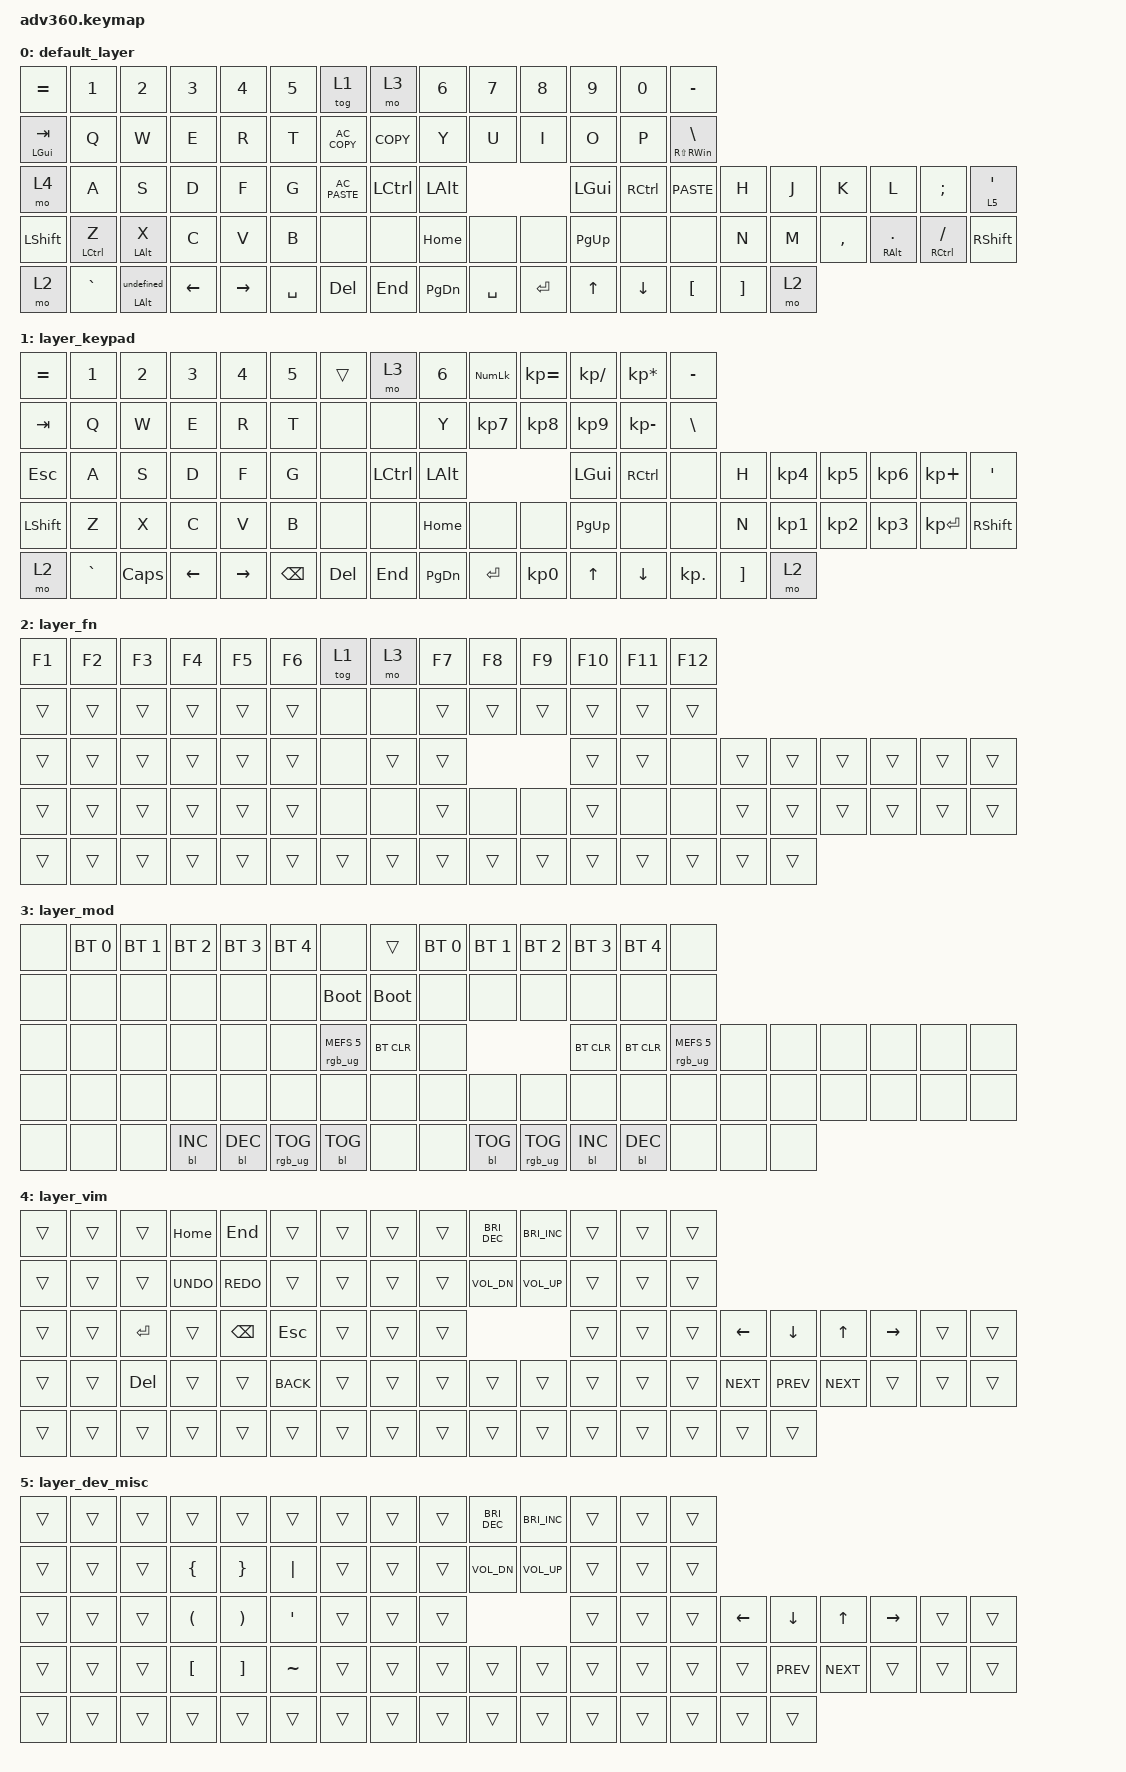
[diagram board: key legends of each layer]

/*
 * Copyright (c) 2020 The ZMK Contributors
 *
 * SPDX-License-Identifier: MIT
 */


/* THIS FILE WAS GENERATED!
 *
 * This file was generated automatically. You may or may not want to
 * edit it directly.
 */

#include <behaviors.dtsi>
#include <dt-bindings/zmk/keys.h>
#include <dt-bindings/zmk/bt.h>
#include <dt-bindings/zmk/rgb.h>
#include <dt-bindings/zmk/backlight.h>

/ {
    keymap {
        compatible = "zmk,keymap";


        default_layer {
            bindings = <
    &kp EQUAL              &kp N1                  &kp N2    &kp N3     &kp N4     &kp N5                    &tog 1       &mo 3     &kp N6     &kp N7     &kp N8     &kp N9     &kp N0                &kp MINUS
 &mt LGUI TAB               &kp Q                   &kp W     &kp E      &kp R      &kp T             &kp C_AC_COPY  &kp K_COPY      &kp Y      &kp U      &kp I      &kp O      &kp P  &mt RS(RIGHT_WIN) BACKSLASH
        &mo 4               &kp A                   &kp S     &kp D      &kp F      &kp G            &kp C_AC_PASTE   &kp LCTRL   &kp LALT                         &kp LGUI  &kp RCTRL              &kp K_PASTE     &kp H   &kp J      &kp K                 &kp L                 &kp SEMI  &lt 5 SINGLE_QUOTE
    &kp LSHFT  &mt LEFT_CONTROL Z          &mt LEFT_ALT X     &kp C      &kp V      &kp B                     &none       &none   &kp HOME      &none      &none  &kp PG_UP      &none                    &none     &kp N   &kp M  &kp COMMA  &mt RIGHT_ALT PERIOD  &mt RIGHT_CONTROL SLASH           &kp RSHFT
        &mo 2           &kp GRAVE  &mt LEFT_ALT undefined  &kp LEFT  &kp RIGHT  &kp SPACE                   &kp DEL     &kp END  &kp PG_DN  &kp SPACE  &kp ENTER     &kp UP   &kp DOWN                 &kp LBKT  &kp RBKT   &mo 2
            >;
        };

        layer_keypad {
            bindings = <
 &kp EQUAL     &kp N1    &kp N2    &kp N3     &kp N4    &kp N5             &trans      &mo 3     &kp N6  &kp KP_NUM  &kp KP_EQUAL  &kp KP_DIVIDE  &kp KP_MULTIPLY   &kp MINUS
   &kp TAB      &kp Q     &kp W     &kp E      &kp R     &kp T              &none      &none      &kp Y   &kp KP_N7     &kp KP_N8      &kp KP_N9     &kp KP_MINUS    &kp BSLH
   &kp ESC      &kp A     &kp S     &kp D      &kp F     &kp G              &none  &kp LCTRL   &kp LALT                                 &kp LGUI        &kp RCTRL       &none     &kp H  &kp KP_N4  &kp KP_N5  &kp KP_N6   &kp KP_PLUS    &kp SQT
 &kp LSHFT      &kp Z     &kp X     &kp C      &kp V     &kp B              &none      &none   &kp HOME       &none         &none      &kp PG_UP            &none       &none     &kp N  &kp KP_N1  &kp KP_N2  &kp KP_N3  &kp KP_ENTER  &kp RSHFT
     &mo 2  &kp GRAVE  &kp CAPS  &kp LEFT  &kp RIGHT  &kp BSPC            &kp DEL    &kp END  &kp PG_DN   &kp ENTER     &kp KP_N0         &kp UP         &kp DOWN  &kp KP_DOT  &kp RBKT      &mo 2
            >;
        };

        layer_fn {
            bindings = <
 &kp F1  &kp F2  &kp F3  &kp F4  &kp F5  &kp F6            &tog 1   &mo 3  &kp F7  &kp F8  &kp F9  &kp F10  &kp F11  &kp F12
 &trans  &trans  &trans  &trans  &trans  &trans             &none   &none  &trans  &trans  &trans   &trans   &trans   &trans
 &trans  &trans  &trans  &trans  &trans  &trans             &none  &trans  &trans                   &trans   &trans    &none  &trans  &trans  &trans  &trans  &trans  &trans
 &trans  &trans  &trans  &trans  &trans  &trans             &none   &none  &trans   &none   &none   &trans    &none    &none  &trans  &trans  &trans  &trans  &trans  &trans
 &trans  &trans  &trans  &trans  &trans  &trans            &trans  &trans  &trans  &trans  &trans   &trans   &trans   &trans  &trans  &trans
            >;
        };

        layer_mod {
            bindings = <
  &none  &bt BT_SEL 0  &bt BT_SEL 1  &bt BT_SEL 2  &bt BT_SEL 3     &bt BT_SEL 4                             &none       &trans  &bt BT_SEL 0  &bt BT_SEL 1     &bt BT_SEL 2  &bt BT_SEL 3  &bt BT_SEL 4                   &none
  &none         &none         &none         &none         &none            &none                       &bootloader  &bootloader         &none         &none            &none         &none         &none                   &none
  &none         &none         &none         &none         &none            &none            &rgb_ug RGB_MEFS_CMD 5   &bt BT_CLR         &none                                   &bt BT_CLR    &bt BT_CLR  &rgb_ug RGB_MEFS_CMD 5   &none   &none   &none   &none   &none   &none
  &none         &none         &none         &none         &none            &none                             &none        &none         &none         &none            &none         &none         &none                   &none   &none   &none   &none   &none   &none   &none
  &none         &none         &none    &bl BL_INC    &bl BL_DEC  &rgb_ug RGB_TOG                        &bl BL_TOG        &none         &none    &bl BL_TOG  &rgb_ug RGB_TOG    &bl BL_INC    &bl BL_DEC                   &none   &none   &none
            >;
        };

        layer_vim {
            bindings = <
 &trans  &trans      &trans    &kp HOME        &kp END      &trans            &trans  &trans  &trans  &kp C_BRIGHTNESS_DEC  &kp C_BRIGHTNESS_INC  &trans  &trans  &trans
 &trans  &trans      &trans  &kp K_UNDO     &kp K_REDO      &trans            &trans  &trans  &trans          &kp K_VOL_DN          &kp K_VOL_UP  &trans  &trans  &trans
 &trans  &trans   &kp ENTER      &trans  &kp BACKSPACE     &kp ESC            &trans  &trans  &trans                                              &trans  &trans  &trans  &kp LEFT_ARROW  &kp DOWN_ARROW  &kp UP_ARROW  &kp RIGHT_ARROW  &trans  &trans
 &trans  &trans  &kp DELETE      &trans         &trans  &kp K_BACK            &trans  &trans  &trans                &trans                &trans  &trans  &trans  &trans      &kp K_NEXT      &kp C_PREV    &kp C_NEXT           &trans  &trans  &trans
 &trans  &trans      &trans      &trans         &trans      &trans            &trans  &trans  &trans                &trans                &trans  &trans  &trans  &trans          &trans          &trans
            >;
        };

        layer_dev_misc {
            bindings = <
 &trans  &trans  &trans                &trans                 &trans            &trans            &trans  &trans  &trans  &kp C_BRIGHTNESS_DEC  &kp C_BRIGHTNESS_INC  &trans  &trans  &trans
 &trans  &trans  &trans        &kp LEFT_BRACE        &kp RIGHT_BRACE          &kp PIPE            &trans  &trans  &trans          &kp K_VOL_DN          &kp K_VOL_UP  &trans  &trans  &trans
 &trans  &trans  &trans  &kp LEFT_PARENTHESIS  &kp RIGHT_PARENTHESIS  &kp SINGLE_QUOTE            &trans  &trans  &trans                                              &trans  &trans  &trans  &kp LEFT_ARROW  &kp DOWN_ARROW  &kp UP_ARROW  &kp RIGHT_ARROW  &trans  &trans
 &trans  &trans  &trans      &kp LEFT_BRACKET      &kp RIGHT_BRACKET         &kp TILDE            &trans  &trans  &trans                &trans                &trans  &trans  &trans  &trans          &trans      &kp C_PREV    &kp C_NEXT           &trans  &trans  &trans
 &trans  &trans  &trans                &trans                 &trans            &trans            &trans  &trans  &trans                &trans                &trans  &trans  &trans  &trans          &trans          &trans
            >;
        };

    };
};
